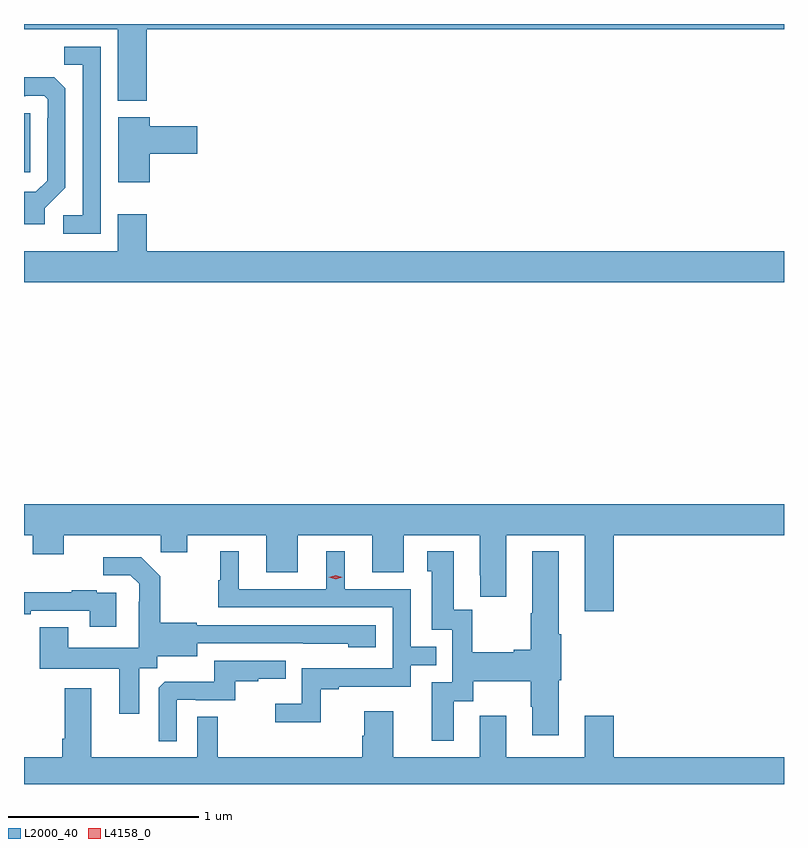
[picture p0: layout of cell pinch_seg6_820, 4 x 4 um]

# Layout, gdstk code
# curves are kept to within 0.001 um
import gdstk
lib = gdstk.Library(unit=1e-6, precision=1e-09)
def R(c, l, rs):  # rectangles x0, y0, x1, y1
    for r in rs: c.add(gdstk.rectangle(r[:2], r[2:], *l))
def P(c, l, *ps):  # polygons
    for p in ps: c.add(gdstk.Polygon(p, *l))
L2000_40 = (2000, 40)
L4158_0 = (4158, 0)

pinch_seg6_820 = lib.new_cell('pinch_seg6_820')
R(pinch_seg6_820, L2000_40, [(141.511,982.548,141.543,982.857)])
P(pinch_seg6_820, L2000_40, [(142.157,983.3),(145.511,983.3),(145.511,983.327),(141.511,983.327),(141.511,983.3),(142.004,983.3),(142.004,982.922),(142.157,982.922)],
  [(141.915,983.208),(141.724,983.208),(141.724,983.113),(141.819,983.113),(141.819,982.32),(141.717,982.32),(141.717,982.224),(141.915,982.224)],
  [(141.619,982.356),(141.729,982.466),(141.729,982.988),(141.67,983.047),(141.511,983.048),(141.511,982.947),(141.518,982.947),(141.518,982.95),(141.618,982.95),(141.636,982.932),(141.636,982.832),(141.633,982.832),(141.633,982.503),(141.573,982.443),(141.511,982.443),(141.511,982.274),(141.619,982.274)],
  [(142.174,982.643),(142.423,982.643),(142.423,982.79),(142.174,982.79),(142.174,982.837),(142.007,982.837),(142.007,982.494),(142.174,982.494)],
  [(145.511,982.132),(142.157,982.132),(142.157,982.327),(142.004,982.327),(142.004,982.132),(141.511,982.132),(141.511,981.968),(145.511,981.968)],
  [(144.614,980.636),(145.511,980.636),(145.511,980.8),(141.511,980.8),(141.511,980.636),(141.557,980.636),(141.557,980.537),(141.721,980.537),(141.721,980.636),(142.231,980.636),(142.231,980.546),(142.369,980.546),(142.369,980.636),(142.787,980.636),(142.787,980.442),(142.951,980.442),(142.951,980.636),(143.345,980.636),(143.345,980.442),(143.509,980.442),(143.509,980.636),(143.909,980.636),(143.909,980.425),(143.912,980.425),(143.912,980.313),(144.049,980.313),(144.049,980.636),(144.461,980.636),(144.461,980.235),(144.614,980.235)],
  [(143.773,979.762),(143.875,979.762),(143.875,979.868),(144.178,979.868),(144.178,979.734),(144.185,979.734),(144.185,979.584),(144.325,979.584),(144.325,979.872),(144.338,979.872),(144.338,980.116),(144.325,980.116),(144.325,980.551),(144.185,980.551),(144.185,980.225),(144.178,980.225),(144.178,980.033),(144.089,980.033),(144.089,980.02),(143.871,980.02),(143.871,980.243),(143.773,980.243),(143.773,980.551),(143.633,980.551),(143.633,980.448),(143.657,980.448),(143.657,980.139),(143.766,980.139),(143.766,979.863),(143.657,979.863),(143.657,979.554),(143.773,979.554)],
  [(143.073,979.827),(143.167,979.827),(143.167,979.839),(143.547,979.839),(143.547,979.953),(143.681,979.953),(143.681,980.049),(143.547,980.049),(143.547,980.352),(143.2,980.352),(143.2,980.551),(143.102,980.551),(143.102,980.352),(142.642,980.352),(142.642,980.551),(142.544,980.551),(142.544,980.4),(142.533,980.4),(142.533,980.256),(143.451,980.256),(143.451,979.935),(142.974,979.935),(142.974,979.75),(142.833,979.75),(142.833,979.652),(143.073,979.652)],
  [(142.117,979.936),(142.212,979.936),(142.212,980),(142.423,980),(142.423,980.067),(143.217,980.066),(143.217,980.048),(143.362,980.048),(143.362,980.163),(142.419,980.163),(142.419,980.176),(142.227,980.176),(142.227,980.421),(142.127,980.521),(141.927,980.521),(141.927,980.427),(142.071,980.427),(142.118,980.38),(142.118,980.285),(142.116,980.285),(142.116,980.044),(141.745,980.044),(141.745,980.153),(141.593,980.153),(141.593,979.934),(142.013,979.934),(142.013,979.698),(142.117,979.698)],
  [(141.997,980.334),(141.893,980.334),(141.893,980.347),(141.761,980.347),(141.761,980.336),(141.511,980.336),(141.511,980.22),(141.547,980.22),(141.547,980.238),(141.857,980.238),(141.857,980.154),(141.997,980.154)],
  [(142.314,979.77),(142.414,979.77),(142.414,979.767),(142.622,979.767),(142.622,979.869),(142.745,979.869),(142.745,979.88),(142.889,979.88),(142.889,979.977),(142.512,979.977),(142.512,979.865),(142.253,979.865),(142.221,979.833),(142.221,979.553),(142.314,979.553)],
  [(145.511,979.468),(144.614,979.468),(144.614,979.687),(144.461,979.687),(144.461,979.468),(144.049,979.468),(144.049,979.687),(143.909,979.687),(143.909,979.468),(143.455,979.468),(143.455,979.711),(143.303,979.711),(143.303,979.581),(143.291,979.581),(143.291,979.468),(142.531,979.468),(142.531,979.682),(142.422,979.682),(142.422,979.468),(141.865,979.468),(141.865,979.831),(141.725,979.831),(141.725,979.564),(141.713,979.564),(141.713,979.468),(141.511,979.468),(141.511,979.327),(145.511,979.327)])
P(pinch_seg6_820, L4158_0, [(143.151,980.405),(143.115,980.414),(143.115,980.415),(143.115,980.415),(143.151,980.425),(143.186,980.415),(143.187,980.415),(143.186,980.414)])

lib.write_gds('pinch_seg6_820.gds')
